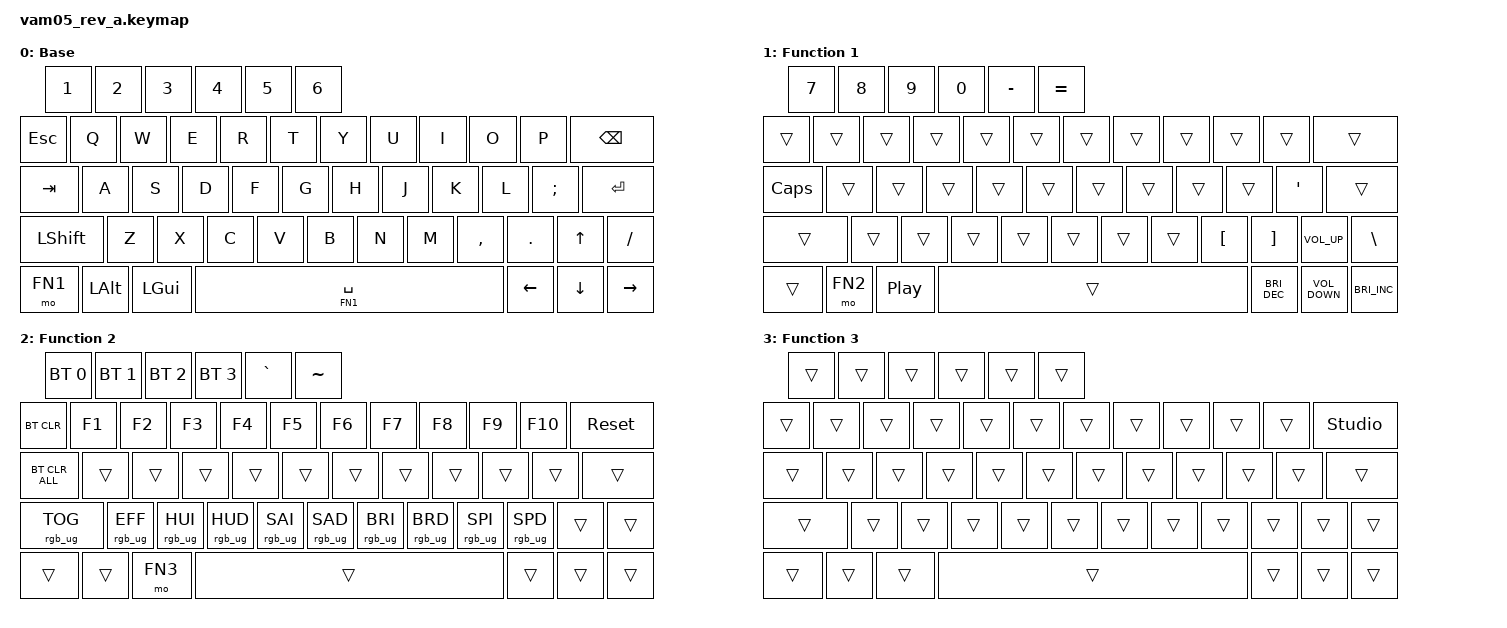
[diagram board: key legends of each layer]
#include <behaviors.dtsi>
#include <dt-bindings/zmk/bt.h>
#include <dt-bindings/zmk/keys.h>
#include <dt-bindings/zmk/rgb.h>

#define FN1 1
#define FN2 2
#define FN3 3

/ {
    keymap {
        compatible = "zmk,keymap";
        default_layer {
            // Base layer
            // -------------------------------------------------------------------------------
            //    |  1  |  2  |  3  |  4  |  5  |  6  |
            // | ESC |  Q  |  W  |  E  |  R  |  T  |  Y  |  U  |  I  |  O  |  P  |    BKSP   |
            // |  TAB  |  A  |  S  |  D  |  F  |  G  |  H  |  J  |  K  |  L  |  ;  |  ENTER  |
            // |   SHIFT   |  Z  |  X  |  C  |  V  |  B  |  N  |  M  |  ,  |  .  |  ↑  |  /  |
            // | MO(1) |LALT| LGUI |              SPACE / MO(1)            |  ←  |  ↓  |  →  |
            // -------------------------------------------------------------------------------

            display-name = "Base";
			bindings = <
				&kp N1		&kp N2		&kp N3		&kp N4		&kp N5		&kp N6
				&kp ESC		&kp Q		&kp W		&kp E		&kp R		&kp T		&kp Y		&kp U		&kp I		&kp O		&kp P		&kp BSPC
				&kp TAB		&kp A		&kp S		&kp D		&kp F		&kp G		&kp H		&kp J		&kp K		&kp L		&kp SEMI	&kp ENTER
				&kp LSHFT	&kp Z		&kp X		&kp C		&kp V		&kp B		&kp N		&kp M		&kp COMMA	&kp DOT		&kp UP		&kp SLASH
				&mo FN1		&kp LALT	&kp LGUI	&lt FN1 SPACE	&kp LEFT	&kp DOWN	&kp RIGHT
			>;
		};


        fn_layer_0 {
            display-name = "Function 1";
            // Function layer
            // -------------------------------------------------------------------------------
            //    |  7  |  8  |  9  |  0  |  -  |  =  |
            // |     |     |     |     |     |     |     |     |     |     |     |           |
            // |  CAPS |     |     |     |     |     |     |     |     |     |  '  |         |
            // |           |     |     |     |     |     |     |     |   [ | ]   |VOLUP|  \  |
            // |      |MO(2)| Play |                                       |ScBRD|VOLDN|ScBRI|
            // -------------------------------------------------------------------------------

			bindings = <
				&kp N7		&kp N8		&kp N9		&kp N0		&kp MINUS	&kp EQUAL
				&trans		&trans		&trans		&trans		&trans		&trans		&trans		&trans		&trans		&trans		&trans		&trans
				&kp CAPS	&trans		&trans		&trans		&trans		&trans		&trans		&trans		&trans		&trans		&kp SQT		&trans
				&trans		&trans		&trans		&trans		&trans		&trans		&trans		&trans		&kp LBKT	&kp RBKT	&kp C_VOLUME_UP		&kp BSLH
				&trans		&mo FN2		&kp C_PLAY_PAUSE		&trans		&kp C_BRIGHTNESS_DEC		&kp C_VOLUME_DOWN		&kp C_BRIGHTNESS_INC
			>;
		};

        fn_layer_1 {
            display-name = "Function 2";
            // Function layer 2
            // -------------------------------------------------------------------------------
            //    | BT0 | BT1 | BT2 | BT3 |  `  |  ~  |
            // |BT_CLR| F1 |  F2 |  F3 |  F4 |  F5 |  F6 |  F7 |  F8 |  F9 | F10 |   Reset   |
            // |BT_CLR_ALL|   |     |     |     |     |     |     |     |     |     |         |
            // |    TOG    | EFF | HUI | HUD | SAI | SAD | BRI | BRD | SPI | SPD |     |     |
            // |      |     |MO(3)|                                        |     |     |     |
            // -------------------------------------------------------------------------------

			bindings = <
				&bt BT_SEL 0		&bt BT_SEL 1		&bt BT_SEL 2		&bt BT_SEL 3		&kp GRAVE		&kp TILDE
				&bt BT_CLR		&kp F1		&kp F2		&kp F3		&kp F4		&kp F5		&kp F6		&kp F7		&kp F8		&kp F9		&kp F10		&sys_reset
				&bt BT_CLR_ALL		&trans		&trans		&trans		&trans		&trans		&trans		&trans		&trans		&trans		&trans		&trans
				&rgb_ug RGB_TOG	&rgb_ug RGB_EFF	&rgb_ug RGB_HUI	&rgb_ug RGB_HUD	&rgb_ug RGB_SAI	&rgb_ug RGB_SAD	&rgb_ug RGB_BRI &rgb_ug RGB_BRD &rgb_ug RGB_SPI &rgb_ug RGB_SPD &trans		&trans
				&trans		&trans		&mo FN3		&trans		&trans		&trans		&trans
			>;
		};

        fn_layer_2 {
            display-name = "Function 3";
            // Function layer 3
            // -------------------------------------------------------------------------------
            //    |     |     |     |     |     |     |
            // |     |     |     |     |     |     |     |     |     |     |     | StudioUlk |
            // |       |     |     |     |     |     |     |     |     |     |     |         |
            // |           |     |     |     |     |     |     |     |     |     |     |     |
            // |      |     |     |                                        |     |     |     |
            // -------------------------------------------------------------------------------
			bindings = <
				&trans		&trans		&trans		&trans		&trans		&trans
				&trans		&trans		&trans		&trans		&trans		&trans		&trans		&trans		&trans		&trans		&trans		&studio_unlock
				&trans		&trans		&trans		&trans		&trans		&trans		&trans		&trans		&trans		&trans		&trans		&trans
				&trans		&trans		&trans		&trans		&trans		&trans		&trans		&trans		&trans		&trans		&trans		&trans
				&trans		&trans		&trans		&trans		&trans		&trans		&trans
			>;
        };
    };
};
